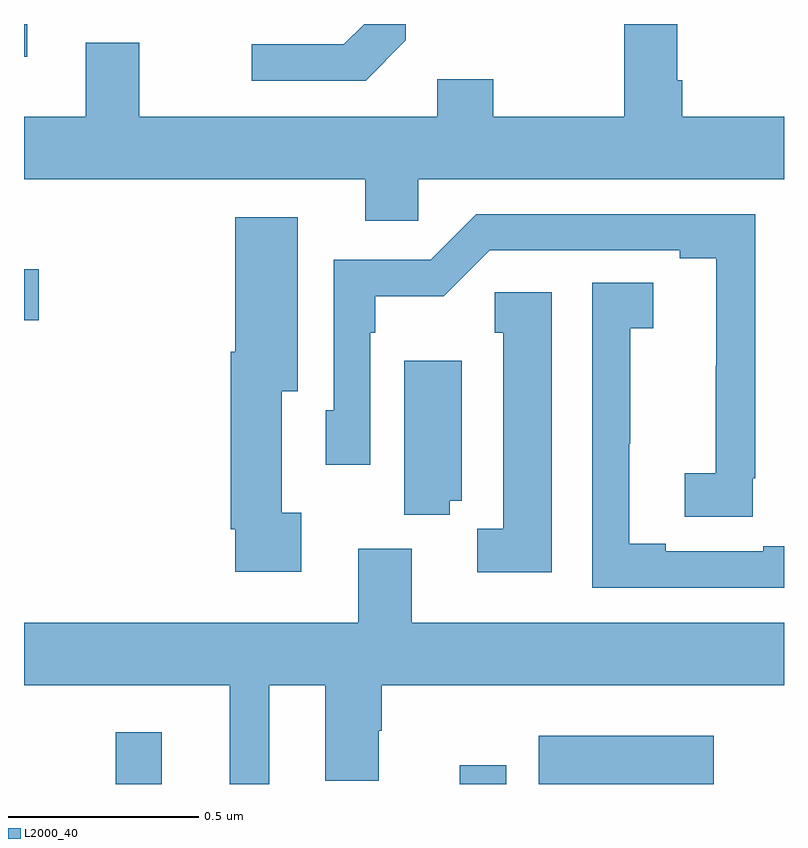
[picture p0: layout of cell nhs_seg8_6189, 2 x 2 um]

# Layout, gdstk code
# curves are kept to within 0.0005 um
import gdstk
lib = gdstk.Library(unit=1e-6, precision=1e-09)
def R(c, l, rs):  # rectangles x0, y0, x1, y1
    for r in rs: c.add(gdstk.rectangle(r[:2], r[2:], *l))
def P(c, l, *ps):  # polygons
    for p in ps: c.add(gdstk.Polygon(p, *l))
L2000_40 = (2000, 40)

nhs_seg8_6189 = lib.new_cell('nhs_seg8_6189')
R(nhs_seg8_6189, L2000_40, [(193.242,1122.9,193.363,1123.036), (194.147,1122.9,194.269,1122.949), (194.354,1122.9,194.815,1123.027), (193,1124.12,193.039,1124.254), (193,1124.814,193.009,1124.9)])
P(nhs_seg8_6189, L2000_40, [(194.037,1124.492),(195,1124.492),(195,1124.656),(194.732,1124.656),(194.732,1124.752),(194.719,1124.752),(194.719,1124.9),(194.579,1124.9),(194.579,1124.656),(194.235,1124.656),(194.235,1124.755),(194.087,1124.755),(194.087,1124.656),(193.303,1124.656),(193.303,1124.851),(193.163,1124.851),(193.163,1124.656),(193,1124.656),(193,1124.492),(193.898,1124.492),(193.898,1124.382),(194.037,1124.382)],
  [(194.005,1124.857),(194.005,1124.9),(193.895,1124.9),(193.842,1124.847),(193.599,1124.847),(193.599,1124.751),(193.899,1124.751)],
  [(194.918,1123.705),(194.924,1123.705),(194.924,1124.4),(194.19,1124.4),(194.07,1124.28),(193.815,1124.28),(193.815,1123.884),(193.794,1123.884),(193.794,1123.74),(193.911,1123.74),(193.911,1124.087),(193.924,1124.087),(193.924,1124.183),(194.105,1124.183),(194.226,1124.304),(194.726,1124.304),(194.726,1124.284),(194.822,1124.284),(194.821,1123.718),(194.739,1123.718),(194.739,1123.603),(194.918,1123.603)],
  [(193.729,1123.614),(193.678,1123.614),(193.678,1123.934),(193.72,1123.934),(193.72,1124.392),(193.556,1124.392),(193.556,1124.038),(193.544,1124.038),(193.544,1123.57),(193.556,1123.57),(193.556,1123.458),(193.729,1123.458)],
  [(195,1123.526),(194.945,1123.526),(194.945,1123.512),(194.689,1123.512),(194.689,1123.532),(194.593,1123.532),(194.593,1123.795),(194.595,1123.795),(194.595,1124.099),(194.656,1124.099),(194.656,1124.219),(194.496,1124.219),(194.496,1123.416),(195,1123.416)],
  [(194.389,1124.194),(194.239,1124.194),(194.239,1124.088),(194.261,1124.088),(194.261,1123.572),(194.193,1123.572),(194.193,1123.457),(194.389,1123.457)],
  [(194.12,1123.646),(194.152,1123.646),(194.152,1124.014),(194,1124.014),(194,1123.609),(194.12,1123.609)],
  [(193.645,1123.16),(193.793,1123.16),(193.793,1122.908),(193.933,1122.908),(193.933,1123.04),(193.941,1123.04),(193.941,1123.16),(195,1123.16),(195,1123.324),(194.02,1123.324),(194.02,1123.519),(193.88,1123.519),(193.88,1123.324),(193,1123.324),(193,1123.16),(193.541,1123.16),(193.541,1122.9),(193.645,1122.9)])

lib.write_gds('nhs_seg8_6189.gds')
